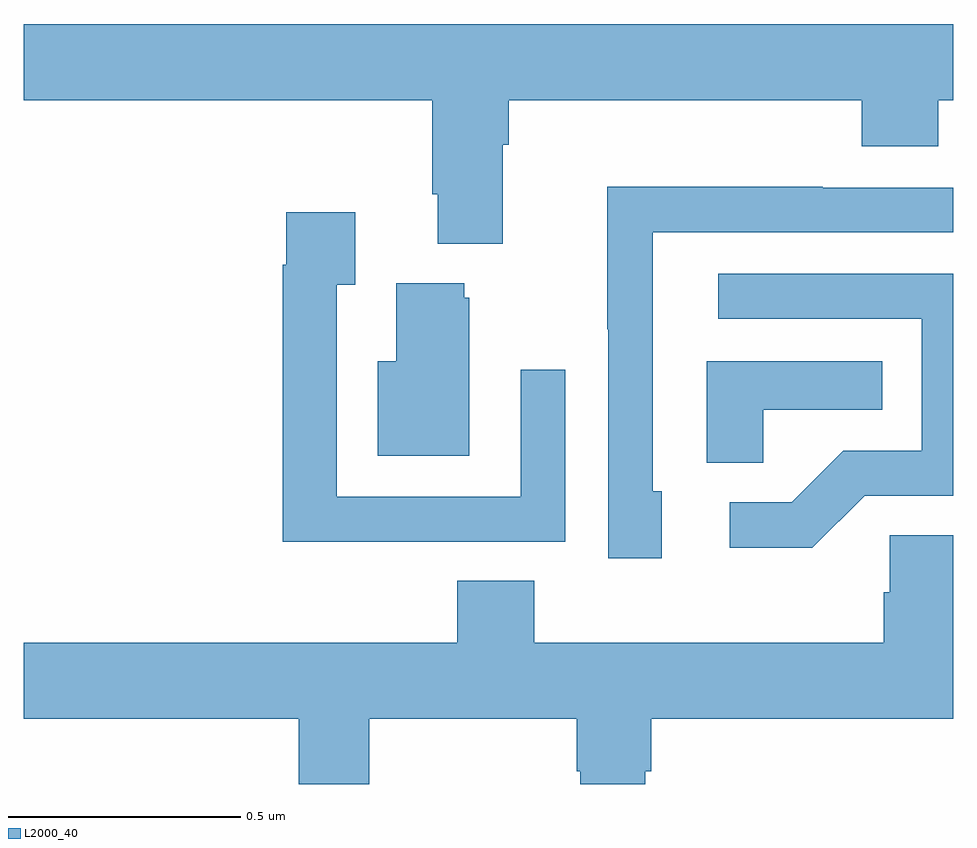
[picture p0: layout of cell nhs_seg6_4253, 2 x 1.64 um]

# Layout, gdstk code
import gdstk
lib = gdstk.Library(unit=1e-6, precision=1e-09)
def P(c, l, *ps):  # polygons
    for p in ps: c.add(gdstk.Polygon(p, *l))
L2000_40 = (2000, 40)

nhs_seg6_4253 = lib.new_cell('nhs_seg6_4253')
P(nhs_seg6_4253, L2000_40, [(168.031,977.876),(168.044,977.876),(168.044,977.972),(168.803,977.972),(168.803,977.873),(168.968,977.873),(168.968,977.972),(169,977.972),(169,978.136),(167,978.136),(167,977.972),(167.879,977.972),(167.879,977.77),(167.891,977.77),(167.891,977.663),(168.031,977.663)],
  [(168.373,977.13),(168.354,977.13),(168.354,977.688),(169,977.688),(169,977.784),(168.719,977.784),(168.719,977.786),(168.256,977.786),(168.256,977.479),(168.258,977.479),(168.258,976.986),(168.373,976.986)],
  [(167.849,977.022),(168.165,977.022),(168.165,977.392),(168.069,977.392),(168.069,977.118),(167.673,977.118),(167.673,977.575),(167.713,977.575),(167.713,977.731),(167.565,977.731),(167.565,977.618),(167.557,977.618),(167.557,977.021),(167.849,977.021)],
  [(168.81,977.121),(169,977.121),(169,977.598),(168.495,977.598),(168.495,977.502),(168.933,977.502),(168.933,977.217),(168.764,977.217),(168.653,977.106),(168.519,977.106),(168.519,977.009),(168.697,977.009)],
  [(167.959,977.547),(167.948,977.547),(167.948,977.578),(167.801,977.578),(167.801,977.41),(167.762,977.41),(167.762,977.207),(167.959,977.207)],
  [(168.591,977.306),(168.848,977.306),(168.848,977.41),(168.47,977.41),(168.47,977.191),(168.591,977.191)],
  [(167.743,976.64),(168.19,976.64),(168.19,976.527),(168.197,976.527),(168.197,976.5),(168.337,976.5),(168.337,976.527),(168.35,976.527),(168.35,976.64),(169,976.64),(169,977.036),(168.864,977.036),(168.864,976.913),(168.851,976.913),(168.851,976.804),(168.098,976.804),(168.098,976.937),(167.933,976.937),(167.933,976.804),(167,976.804),(167,976.64),(167.591,976.64),(167.591,976.5),(167.743,976.5)])

lib.write_gds('nhs_seg6_4253.gds')
